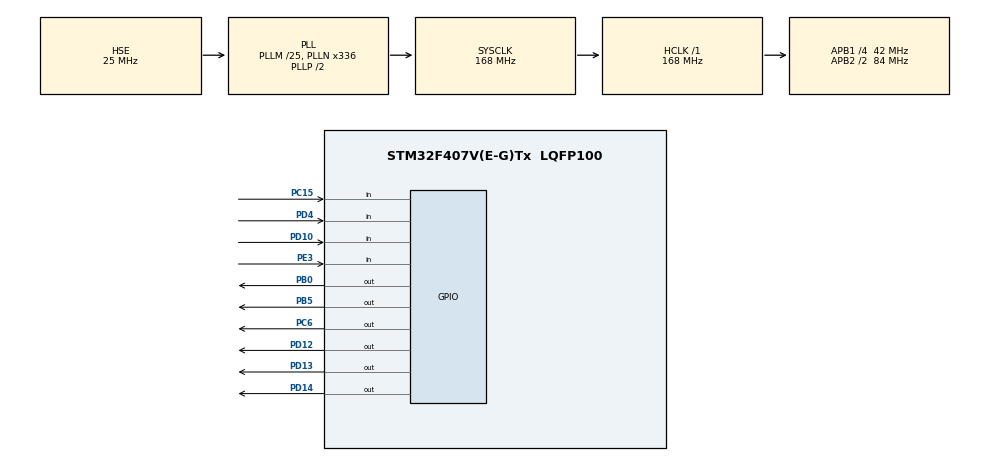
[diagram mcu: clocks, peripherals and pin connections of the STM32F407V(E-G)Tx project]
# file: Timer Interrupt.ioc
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Mcu.Family=STM32F4
Mcu.Name=STM32F407V(E-G)Tx
Mcu.Package=LQFP100
NVIC.PriorityGroup=NVIC_PRIORITYGROUP_4
NVIC.TIM7_IRQn=true\:0\:0\:false\:true\:true\:1\:true\:true\:true
PB0.Signal=GPIO_Output
PB5.Signal=GPIO_Output
PC15-OSC32_OUT.Signal=GPIO_Input
PC6.Signal=GPIO_Output
PD10.Signal=GPIO_Input
PD12.Signal=GPIO_Output
PD13.Signal=GPIO_Output
PD14.Signal=GPIO_Output
PD4.Signal=GPIO_Input
PE3.Signal=GPIO_Input
PH0-OSC_IN.Mode=HSE-External-Oscillator
PH0-OSC_IN.Signal=RCC_OSC_IN
PH1-OSC_OUT.Mode=HSE-External-Oscillator
PH1-OSC_OUT.Signal=RCC_OSC_OUT
ProjectManager.HeapSize=0x200
ProjectManager.StackSize=0x400
ProjectManager.TargetToolchain=STM32CubeIDE
RCC.48MHZClocksFreq_Value=84000000
RCC.AHBFreq_Value=168000000
RCC.APB1CLKDivider=RCC_HCLK_DIV4
RCC.APB1Freq_Value=42000000
RCC.APB1TimFreq_Value=84000000
RCC.APB2CLKDivider=RCC_HCLK_DIV2
RCC.APB2Freq_Value=84000000
RCC.APB2TimFreq_Value=168000000
RCC.CortexFreq_Value=168000000
RCC.HCLKFreq_Value=168000000
RCC.HSE_VALUE=25000000
RCC.HSI_VALUE=16000000
RCC.LSE_VALUE=32768
RCC.PLLM=25
RCC.PLLN=336
RCC.PLLSourceVirtual=RCC_PLLSOURCE_HSE
RCC.SYSCLKFreq_VALUE=168000000
RCC.SYSCLKSource=RCC_SYSCLKSOURCE_PLLCLK
RCC.VCOOutputFreq_Value=336000000
TIM7.AutoReloadPreload=TIM_AUTORELOAD_PRELOAD_DISABLE
TIM7.Period=8399
TIM7.Prescaler=9999
VP_TIM7_VS_ClockSourceINT.Mode=Enable_Timer
board=custom

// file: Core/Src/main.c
/* USER CODE BEGIN Header */
/**
  ******************************************************************************
  * @file           : main.c
  * @brief          : Main program body
  ******************************************************************************
  * @attention
  *
  * Copyright (c) 2023 STMicroelectronics.
  * All rights reserved.
  *
  * This software is licensed under terms that can be found in the LICENSE file
  * in the root directory of this software component.
  * If no LICENSE file comes with this software, it is provided AS-IS.
  *
  ******************************************************************************
  */
/* USER CODE END Header */
#include "main.h"
#include "tim.h"
#include "gpio.h"

/* USER CODE BEGIN Includes */
#include "7SEG.h"
/* USER CODE END Includes */

void SystemClock_Config(void);
static void MX_NVIC_Init(void);

int main(void)
{

  /* MCU Configuration--------------------------------------------------------*/

  /* Reset of all peripherals, Initializes the Flash interface and the Systick. */
  HAL_Init();

  /* Configure the system clock */
  SystemClock_Config();

  /* Initialize all configured peripherals */
  MX_GPIO_Init();
  MX_TIM7_Init();

  /* Initialize interrupts */
  MX_NVIC_Init();
  /* USER CODE BEGIN 2 */
  HAL_GPIO_WritePin(GPIOD, GPIO_PIN_12, GPIO_PIN_SET);
  HAL_GPIO_WritePin(GPIOD, GPIO_PIN_13, GPIO_PIN_SET);
  HAL_GPIO_WritePin(GPIOD, GPIO_PIN_14, GPIO_PIN_SET);

  HAL_GPIO_WritePin(GPIOB, GPIO_PIN_0, GPIO_PIN_SET);
  HAL_GPIO_WritePin(GPIOB, GPIO_PIN_5, GPIO_PIN_SET);
  HAL_GPIO_WritePin(GPIOC, GPIO_PIN_6, GPIO_PIN_SET);

  HAL_TIM_Base_Start_IT(&htim7);

  _7SEG_GPIO_Init();
  /* USER CODE END 2 */

  /* Infinite loop */
  while (1)
  {

  }
}

void SystemClock_Config(void)
{
  RCC_OscInitTypeDef RCC_OscInitStruct = {0};
  RCC_ClkInitTypeDef RCC_ClkInitStruct = {0};

  /** Configure the main internal regulator output voltage
  */
  __HAL_RCC_PWR_CLK_ENABLE();
  __HAL_PWR_VOLTAGESCALING_CONFIG(PWR_REGULATOR_VOLTAGE_SCALE1);

  /** Initializes the RCC Oscillators according to the specified parameters
  * in the RCC_OscInitTypeDef structure.
  */
  RCC_OscInitStruct.OscillatorType = RCC_OSCILLATORTYPE_HSE;
  RCC_OscInitStruct.HSEState = RCC_HSE_ON;
  RCC_OscInitStruct.PLL.PLLState = RCC_PLL_ON;
  RCC_OscInitStruct.PLL.PLLSource = RCC_PLLSOURCE_HSE;
  RCC_OscInitStruct.PLL.PLLM = 25;
  RCC_OscInitStruct.PLL.PLLN = 336;
  RCC_OscInitStruct.PLL.PLLP = RCC_PLLP_DIV2;
  RCC_OscInitStruct.PLL.PLLQ = 4;
  if (HAL_RCC_OscConfig(&RCC_OscInitStruct) != HAL_OK)
  {
    Error_Handler();
  }

  /** Initializes the CPU, AHB and APB buses clocks
  */
  RCC_ClkInitStruct.ClockType = RCC_CLOCKTYPE_HCLK|RCC_CLOCKTYPE_SYSCLK
                              |RCC_CLOCKTYPE_PCLK1|RCC_CLOCKTYPE_PCLK2;
  RCC_ClkInitStruct.SYSCLKSource = RCC_SYSCLKSOURCE_PLLCLK;
  RCC_ClkInitStruct.AHBCLKDivider = RCC_SYSCLK_DIV1;
  RCC_ClkInitStruct.APB1CLKDivider = RCC_HCLK_DIV4;
  RCC_ClkInitStruct.APB2CLKDivider = RCC_HCLK_DIV2;

  if (HAL_RCC_ClockConfig(&RCC_ClkInitStruct, FLASH_LATENCY_5) != HAL_OK)
  {
    Error_Handler();
  }
}

/**
  * @brief NVIC Configuration.
  * @retval None
  */
static void MX_NVIC_Init(void)
{
  /* TIM7_IRQn interrupt configuration */
  HAL_NVIC_SetPriority(TIM7_IRQn, 0, 0);
  HAL_NVIC_EnableIRQ(TIM7_IRQn);
}

/* USER CODE BEGIN 4 */
void HAL_TIM_PeriodElapsedCallBack(TIM_HandleTypeDef *htim) {
	static unsigned char cnt = 0;
	if(htim->Instance == TIM7) {
		HAL_GPIO_TogglePin(GPIOD, GPIO_PIN_12);
		_7SEG_SetNumber(DGT1, cnt/10, OFF);
		_7SEG_SetNumber(DGT2, cnt%10, ON);
		cnt++;
	}
}
/* USER CODE END 4 */

void Error_Handler(void)
{
  __disable_irq();
  while (1)
  {
  }
}
